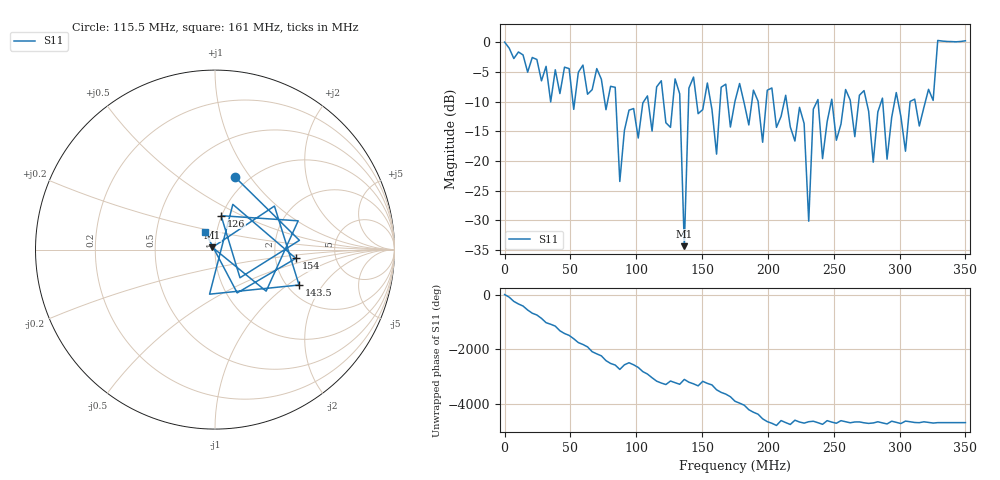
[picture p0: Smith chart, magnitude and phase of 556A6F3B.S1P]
!File created by NanoVNA
# Hz S RI R 50
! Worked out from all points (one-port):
!   101 points, 50 kHz to 350 MHz, reference 50 ohm
!   lowest |S11| = -34.3 dB at 136.5 MHz (marker M1), VSWR 1.04, Z = 48.6 + j1.23 ohm
!   |S11| at or under -10 dB: 84.57 MHz to 105.7 MHz (21.13 MHz wide, 22.2 % of centre); 214.2 MHz to 237.3 MHz (23.07 MHz wide, 10.2 % of centre); 274.9 MHz to 286.1 MHz (11.25 MHz wide, 4.01 % of centre) (the widest 3 of 21)
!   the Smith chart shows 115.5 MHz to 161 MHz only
!   S11 on the Smith chart (normalised r, x): 115.5 MHz: 0.86, +0.85; 126 MHz: 0.99, +0.39; 143.5 MHz: 2.31, -1.23; 154 MHz: 2.61, -0.32; 161 MHz: 0.88, +0.18
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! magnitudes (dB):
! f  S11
! 50 kHz  0.0
! 45.54 MHz  -4.2
! 84.04 MHz  -7.6
! 87.54 MHz  -23.4
! 94.54 MHz  -11.4
! 115.5 MHz  -7.5
! 126 MHz  -14.3
! 133 MHz  -8.7
! 136.5 MHz  -34.3
! 140 MHz  -7.7
! 143.5 MHz  -5.9
! 154 MHz  -6.9
! 161 MHz  -18.8
! 164.5 MHz  -7.6
! 175 MHz  -9.9
! 220.5 MHz  -16.6
! 227.5 MHz  -13.7
! 231 MHz  -30.1
! 234.5 MHz  -11.3
! 241.5 MHz  -19.6
! 262.5 MHz  -9.7
! 273 MHz  -8.2
! 280 MHz  -20.2
! 287 MHz  -9.4
! 290.5 MHz  -19.7
! 297.5 MHz  -8.5
! 308 MHz  -10.0
! 350 MHz  0.2
